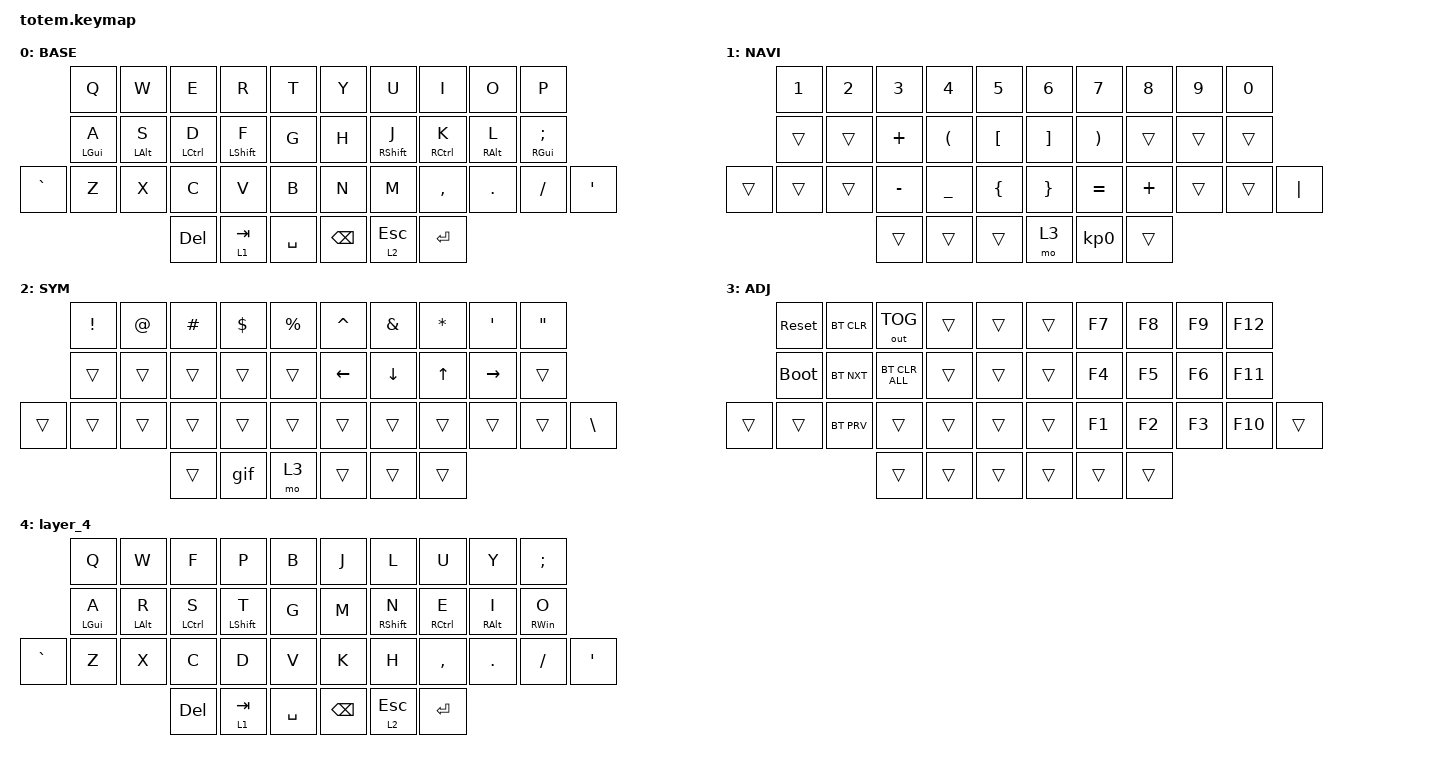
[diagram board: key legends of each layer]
//
//                                                        ▀▀▀▀▀     ▀▀▀▀▀          ▀▀█▀▀
//                                                        ▄▀▀▀▄  ▄  ▄▀▀▀▄  ▄  ▄▀▀▀▄  █  ▄▀▀▀▄
//                                                        █   █  █  █   █  █  █   █  █  █   █
//                                                         ▀▀▀   █   ▀▀▀   █   ▀▀▀   ▀   ▀▀▀
//                                                               █      ▄▄▄█▄▄▄    █   █  
//                                                               ▀      █  █  █     █▄█
//                                                             ▀▀▀▀▀    █  █  █      ▀
//                                                                      ▀  ▀  ▀
//
// ▄▄▄▄▄▄▄▄▄▄▄▄▄▄▄▄▄▄▄▄▄▄▄▄▄▄▄▄▄▄▄▄▄▄▄▄▄▄▄▄▄▄▄▄▄▄▄▄▄▄▄▄▄▄▄▄▄▄▄▄▄▄▄▄▄▄▄▄▄▄▄▄▄▄▄▄▄▄▄▄▄▄▄▄▄▄▄▄▄▄▄▄▄▄▄▄▄▄▄▄▄▄▄▄▄▄▄▄▄▄▄▄▄▄▄▄▄▄▄▄▄▄▄▄▄▄▄▄▄▄▄▄▄▄▄▄▄▄▄▄▄▄▄▄▄▄▄▄▄

#include <behaviors.dtsi>
#include <dt-bindings/zmk/bt.h>
#include <dt-bindings/zmk/keys.h>
#include <dt-bindings/zmk/outputs.h>

#define BASE 0
#define NAV  1
#define SYM  2
#define ADJ  3
#define TVP1 4
#define TVP2 5

&mt {
    quick-tap-ms = <100>;
    global-quick-tap;
    flavor = "tap-preferred";
    tapping-term-ms = <220>;
};

/ {
    combos {
        compatible = "zmk,combos";

        combo_esc {
            timeout-ms = <50>;
            key-positions = <0 1>;
            bindings = <&kp ESC>;
        };

        combo_tvp {
            timeout-ms = <100>;
            key-positions = <11 12 13>;
            bindings = <&tog 4>;
        };

        qwerty {
            bindings = <&tog 0>;
            key-positions = <16 17 18>;
        };
    };

    macros {
        gif: gif {
            label = "giphy";
            compatible = "zmk,behavior-macro";
            #binding-cells = <0>;
            bindings =
                <&macro_press>,
                <&kp LSHFT>,
                <&macro_tap>,
                <&kp N2>,
                <&macro_release>,
                <&kp LSHFT>,
                <&macro_tap>,
                <&kp G &kp I &kp F>;
        };
    };

    keymap {
        compatible = "zmk,keymap";

        // ▄▄▄▄▄▄▄▄▄▄▄▄▄▄▄▄▄▄▄▄▄▄▄▄▄▄▄▄▄▄▄▄▄▄▄▄▄▄▄▄▄▄▄▄▄▄▄▄▄▄▄▄▄▄▄▄▄▄▄▄▄▄▄▄▄▄▄▄▄▄▄▄▄▄▄▄▄▄▄▄▄▄▄▄▄▄▄▄▄▄▄▄▄▄▄▄▄▄▄▄▄▄▄▄▄▄▄▄▄▄▄▄▄▄▄▄▄▄▄▄▄▄▄▄▄▄▄▄▄▄▄▄▄▄▄▄▄▄▄▄▄▄▄▄▄▄▄▄▄

        base_layer {
            // ┏━━━━━━━━━━━━━━━━━━━━━━━━━━━━━━━━━━━━━━━┓

            label = "BASE";

            // ┗━━━━━━━━━━━━━━━━━━━━━━━━━━━━━━━━━━━━━━━┛
            //             ┏━━━━━━━━━━━┳━━━━━━━━━━━┳━━━━━━━━━━━┳━━━━━━━━━━━┳━━━━━━━━━━━┓   ┏━━━━━━━━━━━┳━━━━━━━━━━━┳━━━━━━━━━━━┳━━━━━━━━━━━┳━━━━━━━━━━━┓
            //             ┃     Q     ┃     W     ┃     F     ┃     P     ┃     G     ┃   ┃     J     ┃     L     ┃     U     ┃     Y     ┃     ;     ┃
            //             ┣━━━━━━━━━━━╋━━━━━━━━━━━╋━━━━━━━━━━━╋━━━━━━━━━━━╋━━━━━━━━━━━┫   ┣━━━━━━━━━━━╋━━━━━━━━━━━╋━━━━━━━━━━━╋━━━━━━━━━━━╋━━━━━━━━━━━┫
            //             ┃     A     ┃     R     ┃     S     ┃     T     ┃     D     ┃   ┃     H     ┃     N     ┃     E     ┃     I     ┃     O     ┃
            // ┏━━━━━━━━━━━╋━━━━━━━━━━━╋━━━━━━━━━━━╋━━━━━━━━━━━╋━━━━━━━━━━━╋━━━━━━━━━━━┫   ┣━━━━━━━━━━━╋━━━━━━━━━━━╋━━━━━━━━━━━╋━━━━━━━━━━━╋━━━━━━━━━━━╋━━━━━━━━━━━┓
            // ┃     Q     ┃     Z     ┃     X     ┃     C     ┃     V     ┃     B     ┃   ┃     K     ┃     M     ┃     ,     ┃     .     ┃     /     ┃     \     ┃
            // ┗━━━━━━━━━━━┻━━━━━━━━━━━┻━━━━━━━━━━━╋━━━━━━━━━━━╋━━━━━━━━━━━╋━━━━━━━━━━━┫   ┣━━━━━━━━━━━╋━━━━━━━━━━━╋━━━━━━━━━━━╋━━━━━━━━━━━┻━━━━━━━━━━━┻━━━━━━━━━━━┛
            //                                     ┃    DEL    ┃    TAB    ┃    SPC    ┃   ┃   ENTER   ┃           ┃   BSPC    ┃
            //                                     ┗━━━━━━━━━━━┻━━━━━━━━━━━┻━━━━━━━━━━━┛   ┗━━━━━━━━━━━┻━━━━━━━━━━━┻━━━━━━━━━━━┛

            bindings = <
           &kp Q       &kp W       &kp E        &kp R        &kp T        &kp Y          &kp U        &kp I        &kp O       &kp P
           &mt LGUI A  &mt LALT S  &mt LCTRL D  &mt LSHFT F  &kp G        &kp H          &mt RSHFT J  &mt RCTRL K  &mt RALT L  &mt RGUI SEMICOLON
&kp GRAVE  &kp Z       &kp X       &kp C        &kp V        &kp B        &kp N          &kp M        &kp COMMA    &kp DOT     &kp FSLH            &kp SQT
                                   &kp DEL      &lt 1 TAB    &kp SPACE    &kp BACKSPACE  &lt 2 ESC    &kp ENTER
            >;
        };

        // ▄▄▄▄▄▄▄▄▄▄▄▄▄▄▄▄▄▄▄▄▄▄▄▄▄▄▄▄▄▄▄▄▄▄▄▄▄▄▄▄▄▄▄▄▄▄▄▄▄▄▄▄▄▄▄▄▄▄▄▄▄▄▄▄▄▄▄▄▄▄▄▄▄▄▄▄▄▄▄▄▄▄▄▄▄▄▄▄▄▄▄▄▄▄▄▄▄▄▄▄▄▄▄▄▄▄▄▄▄▄▄▄▄▄▄▄▄▄▄▄▄▄▄▄▄▄▄▄▄▄▄▄▄▄▄▄▄▄▄▄▄▄▄▄▄▄▄▄▄

        nav_layer {
            // ┏━━━━━━━━━━━━━━━━━━━━━━━━━━━━━━━━━━━━━━━┓

            label = "NAVI";

            // ┗━━━━━━━━━━━━━━━━━━━━━━━━━━━━━━━━━━━━━━━┛
            //             ┏━━━━━━━━━━━┳━━━━━━━━━━━┳━━━━━━━━━━━┳━━━━━━━━━━━┳━━━━━━━━━━━┓   ┏━━━━━━━━━━━┳━━━━━━━━━━━┳━━━━━━━━━━━┳━━━━━━━━━━━┳━━━━━━━━━━━┓
            //             ┃           ┃           ┃     UP    ┃           ┃     {     ┃   ┃     }     ┃     7     ┃     8     ┃     9     ┃     +     ┃
            //             ┣━━━━━━━━━━━╋━━━━━━━━━━━╋━━━━━━━━━━━╋━━━━━━━━━━━╋━━━━━━━━━━━┫   ┣━━━━━━━━━━━╋━━━━━━━━━━━╋━━━━━━━━━━━╋━━━━━━━━━━━╋━━━━━━━━━━━┫
            //             ┃   SHIFT   ┃   LEFT    ┃    DOWN   ┃   RIGHT   ┃     [     ┃   ┃     ]     ┃     4     ┃     5     ┃     6     ┃     -     ┃
            // ┏━━━━━━━━━━━╋━━━━━━━━━━━╋━━━━━━━━━━━╋━━━━━━━━━━━╋━━━━━━━━━━━╋━━━━━━━━━━━┫   ┣━━━━━━━━━━━╋━━━━━━━━━━━╋━━━━━━━━━━━╋━━━━━━━━━━━╋━━━━━━━━━━━╋━━━━━━━━━━━┓
            // ┃           ┃           ┃   P UP    ┃  C LOCK   ┃  P DOWN   ┃     (     ┃   ┃     )     ┃     1     ┃     2     ┃     3     ┃     *     ┃           ┃
            // ┗━━━━━━━━━━━┻━━━━━━━━━━━┻━━━━━━━━━━━╋━━━━━━━━━━━╋━━━━━━━━━━━╋━━━━━━━━━━━┫   ┣━━━━━━━━━━━╋━━━━━━━━━━━╋━━━━━━━━━━━╋━━━━━━━━━━━┻━━━━━━━━━━━┻━━━━━━━━━━━┛
            //                                     ┃           ┃    TAB    ┃    SPC    ┃   ┃    DEL    ┃     0     ┃           ┃
            //                                     ┗━━━━━━━━━━━┻━━━━━━━━━━━┻━━━━━━━━━━━┛   ┗━━━━━━━━━━━┻━━━━━━━━━━━┻━━━━━━━━━━━┛

            bindings = <
        &kp NUMBER_1  &kp NUMBER_2  &kp NUMBER_3  &kp NUMBER_4          &kp N5            &kp NUMBER_6       &kp N7                 &kp N8    &kp N9  &kp N0
        &trans        &trans        &kp PLUS      &kp LEFT_PARENTHESIS  &kp LBKT          &kp RIGHT_BRACKET  &kp RIGHT_PARENTHESIS  &trans    &trans  &trans
&trans  &trans        &trans        &kp MINUS     &kp UNDER             &kp LEFT_BRACE    &kp RIGHT_BRACE    &kp EQUAL              &kp PLUS  &trans  &trans  &kp PIPE
                                    &trans        &trans                &trans            &mo 3              &kp KP_N0              &trans
            >;
        };

        // ▄▄▄▄▄▄▄▄▄▄▄▄▄▄▄▄▄▄▄▄▄▄▄▄▄▄▄▄▄▄▄▄▄▄▄▄▄▄▄▄▄▄▄▄▄▄▄▄▄▄▄▄▄▄▄▄▄▄▄▄▄▄▄▄▄▄▄▄▄▄▄▄▄▄▄▄▄▄▄▄▄▄▄▄▄▄▄▄▄▄▄▄▄▄▄▄▄▄▄▄▄▄▄▄▄▄▄▄▄▄▄▄▄▄▄▄▄▄▄▄▄▄▄▄▄▄▄▄▄▄▄▄▄▄▄▄▄▄▄▄▄▄▄▄▄▄▄▄▄

        sim_layer {
            // ┏━━━━━━━━━━━━━━━━━━━━━━━━━━━━━━━━━━━━━━━┓

            label = "SYM";

            // ┗━━━━━━━━━━━━━━━━━━━━━━━━━━━━━━━━━━━━━━━┛
            //             ┏━━━━━━━━━━━┳━━━━━━━━━━━┳━━━━━━━━━━━┳━━━━━━━━━━━┳━━━━━━━━━━━┓   ┏━━━━━━━━━━━┳━━━━━━━━━━━┳━━━━━━━━━━━┳━━━━━━━━━━━┳━━━━━━━━━━━┓
            //             ┃     !     ┃     @     ┃     #     ┃     $     ┃     %     ┃   ┃     ˆ     ┃     &     ┃     Ü     ┃     '     ┃     "     ┃
            //             ┣━━━━━━━━━━━╋━━━━━━━━━━━╋━━━━━━━━━━━╋━━━━━━━━━━━╋━━━━━━━━━━━┫   ┣━━━━━━━━━━━╋━━━━━━━━━━━╋━━━━━━━━━━━╋━━━━━━━━━━━╋━━━━━━━━━━━┫
            //             ┃     Ä     ┃           ┃    SZ     ┃           ┃           ┃   ┃   MUTE    ┃   YEN     ┃   EURO    ┃  POUND    ┃     Ö     ┃
            // ┏━━━━━━━━━━━╋━━━━━━━━━━━╋━━━━━━━━━━━╋━━━━━━━━━━━╋━━━━━━━━━━━╋━━━━━━━━━━━┫   ┣━━━━━━━━━━━╋━━━━━━━━━━━╋━━━━━━━━━━━╋━━━━━━━━━━━╋━━━━━━━━━━━╋━━━━━━━━━━━┓
            // ┃           ┃  EMAIL1   ┃  EMAIL2   ┃           ┃           ┃           ┃   ┃   VOL-    ┃   VOL+    ┃   LAST    ┃   NEXT    ┃     \     ┃           ┃
            // ┗━━━━━━━━━━━┻━━━━━━━━━━━┻━━━━━━━━━━━╋━━━━━━━━━━━╋━━━━━━━━━━━╋━━━━━━━━━━━┫   ┣━━━━━━━━━━━╋━━━━━━━━━━━╋━━━━━━━━━━━╋━━━━━━━━━━━┻━━━━━━━━━━━┻━━━━━━━━━━━┛
            //                                     ┃           ┃    GIF    ┃    ADJ    ┃   ┃           ┃           ┃           ┃
            //                                     ┗━━━━━━━━━━━┻━━━━━━━━━━━┻━━━━━━━━━━━┛   ┗━━━━━━━━━━━┻━━━━━━━━━━━┻━━━━━━━━━━━┛

            bindings = <
        &kp EXCL  &kp AT  &kp HASH  &kp DLLR  &kp PRCNT    &kp CARET  &kp AMPS  &kp ASTERISK  &kp SQT    &kp DQT
        &trans    &trans  &trans    &trans    &trans       &kp LEFT   &kp DOWN  &kp UP_ARROW  &kp RIGHT  &trans
&trans  &trans    &trans  &trans    &trans    &trans       &trans     &trans    &trans        &trans     &trans   &kp BACKSLASH
                          &trans    &gif      &mo 3        &trans     &trans    &trans
            >;
        };

        // ▄▄▄▄▄▄▄▄▄▄▄▄▄▄▄▄▄▄▄▄▄▄▄▄▄▄▄▄▄▄▄▄▄▄▄▄▄▄▄▄▄▄▄▄▄▄▄▄▄▄▄▄▄▄▄▄▄▄▄▄▄▄▄▄▄▄▄▄▄▄▄▄▄▄▄▄▄▄▄▄▄▄▄▄▄▄▄▄▄▄▄▄▄▄▄▄▄▄▄▄▄▄▄▄▄▄▄▄▄▄▄▄▄▄▄▄▄▄▄▄▄▄▄▄▄▄▄▄▄▄▄▄▄▄▄▄▄▄▄▄▄▄▄▄▄▄▄▄▄

        adjust_layer {
            // ┏━━━━━━━━━━━━━━━━━━━━━━━━━━━━━━━━━━━━━━━┓

            label = "ADJ";

            // ┗━━━━━━━━━━━━━━━━━━━━━━━━━━━━━━━━━━━━━━━┛
            //             ┏━━━━━━━━━━━┳━━━━━━━━━━━┳━━━━━━━━━━━┳━━━━━━━━━━━┳━━━━━━━━━━━┓   ┏━━━━━━━━━━━┳━━━━━━━━━━━┳━━━━━━━━━━━┳━━━━━━━━━━━┳━━━━━━━━━━━┓
            //             ┃   RESET   ┃ BT CLEAR  ┃  OUT TOG  ┃           ┃           ┃   ┃           ┃    F7     ┃    F8     ┃    F9     ┃    F12    ┃
            //             ┣━━━━━━━━━━━╋━━━━━━━━━━━╋━━━━━━━━━━━╋━━━━━━━━━━━╋━━━━━━━━━━━┫   ┣━━━━━━━━━━━╋━━━━━━━━━━━╋━━━━━━━━━━━╋━━━━━━━━━━━╋━━━━━━━━━━━┫
            //             ┃ BOOTLOAD  ┃ BT NEXT   ┃           ┃           ┃           ┃   ┃           ┃    F4     ┃    F5     ┃    F6     ┃    F11    ┃
            // ┏━━━━━━━━━━━╋━━━━━━━━━━━╋━━━━━━━━━━━╋━━━━━━━━━━━╋━━━━━━━━━━━╋━━━━━━━━━━━┫   ┣━━━━━━━━━━━╋━━━━━━━━━━━╋━━━━━━━━━━━╋━━━━━━━━━━━╋━━━━━━━━━━━╋━━━━━━━━━━━┓
            // ┃           ┃           ┃ BT PREV   ┃           ┃           ┃           ┃   ┃           ┃    F1     ┃    F2     ┃    F3     ┃    F10    ┃           ┃
            // ┗━━━━━━━━━━━┻━━━━━━━━━━━┻━━━━━━━━━━━╋━━━━━━━━━━━╋━━━━━━━━━━━╋━━━━━━━━━━━┫   ┣━━━━━━━━━━━╋━━━━━━━━━━━╋━━━━━━━━━━━╋━━━━━━━━━━━┻━━━━━━━━━━━┻━━━━━━━━━━━┛
            //                                     ┃           ┃           ┃           ┃   ┃           ┃           ┃           ┃
            //                                     ┗━━━━━━━━━━━┻━━━━━━━━━━━┻━━━━━━━━━━━┛   ┗━━━━━━━━━━━┻━━━━━━━━━━━┻━━━━━━━━━━━┛

            bindings = <
        &sys_reset   &bt BT_CLR  &out OUT_TOG    &trans  &trans    &trans  &kp F7  &kp F8  &kp F9  &kp F12
        &bootloader  &bt BT_NXT  &bt BT_CLR_ALL  &trans  &trans    &trans  &kp F4  &kp F5  &kp F6  &kp F11
&trans  &trans       &bt BT_PRV  &trans          &trans  &trans    &trans  &kp F1  &kp F2  &kp F3  &kp F10  &trans
                                 &trans          &trans  &trans    &trans  &trans  &trans
            >;
        };

        // ▄▄▄▄▄▄▄▄▄▄▄▄▄▄▄▄▄▄▄▄▄▄▄▄▄▄▄▄▄▄▄▄▄▄▄▄▄▄▄▄▄▄▄▄▄▄▄▄▄▄▄▄▄▄▄▄▄▄▄▄▄▄▄▄▄▄▄▄▄▄▄▄▄▄▄▄▄▄▄▄▄▄▄▄▄▄▄▄▄▄▄▄▄▄▄▄▄▄▄▄▄▄▄▄▄▄▄▄▄▄▄▄▄▄▄▄▄▄▄▄▄▄▄▄▄▄▄▄▄▄▄▄▄▄▄▄▄▄▄▄▄▄▄▄▄▄▄▄▄
        // ▄▄▄▄▄▄▄▄▄▄▄▄▄▄▄▄▄▄▄▄▄▄▄▄▄▄▄▄▄▄▄▄▄▄▄▄▄▄▄▄▄▄▄▄▄▄▄▄▄▄▄▄▄▄▄▄▄▄▄▄▄▄▄▄▄▄▄▄▄▄▄▄▄▄▄▄▄▄▄▄▄▄▄▄▄▄▄▄▄▄▄▄▄▄▄▄▄▄▄▄▄▄▄▄▄▄▄▄▄▄▄▄▄▄▄▄▄▄▄▄▄▄▄▄▄▄▄▄▄▄▄▄▄▄▄▄▄▄▄▄▄▄▄▄▄▄▄▄▄

        layer_4 {
            bindings = <
           &kp Q           &kp W           &kp F               &kp P             &kp B        &kp J          &kp L              &kp U                &kp Y            &kp SEMI
           &mt LEFT_GUI A  &mt LEFT_ALT R  &mt LEFT_CONTROL S  &mt LEFT_SHIFT T  &kp G        &kp M          &mt RIGHT_SHIFT N  &mt RIGHT_CONTROL E  &mt RIGHT_ALT I  &mt RIGHT_WIN O
&kp GRAVE  &kp Z           &kp X           &kp C               &kp D             &kp V        &kp K          &kp H              &kp COMMA            &kp DOT          &kp FSLH         &kp SQT
                                           &kp DELETE          &lt 1 TAB         &kp SPACE    &kp BACKSPACE  &lt 2 ESCAPE       &kp ENTER
            >;
        };
    };
};
